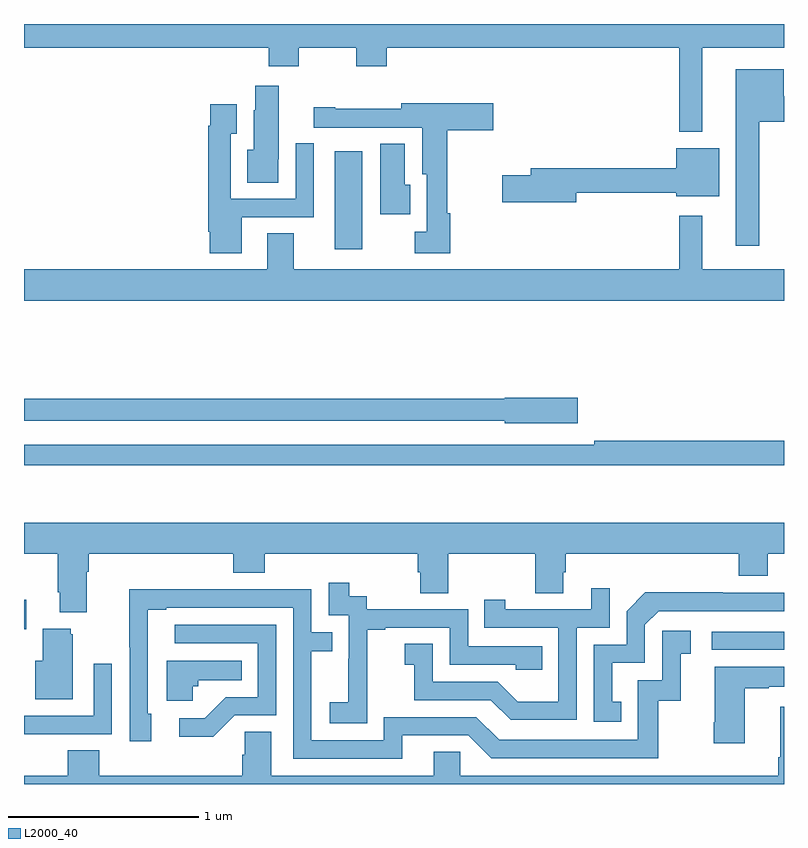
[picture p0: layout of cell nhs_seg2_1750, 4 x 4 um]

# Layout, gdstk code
import gdstk
lib = gdstk.Library(unit=1e-6, precision=1e-09)
def R(c, l, rs):  # rectangles x0, y0, x1, y1
    for r in rs: c.add(gdstk.rectangle(r[:2], r[2:], *l))
def P(c, l, *ps):  # polygons
    for p in ps: c.add(gdstk.Polygon(p, *l))
L2000_40 = (2000, 40)

nhs_seg2_1750 = lib.new_cell('nhs_seg2_1750')
R(nhs_seg2_1750, L2000_40, [(206.619,604.506,207,604.602), (203,604.615,203.011,604.771), (204.635,606.614,204.781,607.129)])
P(nhs_seg2_1750, L2000_40, [(206.569,607.676),(207,607.676),(207,607.8),(203,607.8),(203,607.676),(204.287,607.676),(204.287,607.577),(204.447,607.577),(204.447,607.676),(204.748,607.676),(204.748,607.577),(204.908,607.577),(204.908,607.676),(206.448,607.676),(206.448,607.232),(206.569,607.232)],
  [(206.869,607.286),(207,607.286),(207,607.42),(206.998,607.42),(206.998,607.561),(206.747,607.561),(206.747,606.633),(206.869,606.633)],
  [(204.337,607.089),(204.34,607.089),(204.34,607.474),(204.218,607.474),(204.218,607.347),(204.209,607.347),(204.209,607.138),(204.176,607.138),(204.176,606.964),(204.337,606.964)],
  [(205.243,606.803),(205.228,606.803),(205.228,607.241),(205.471,607.241),(205.471,607.383),(204.986,607.383),(204.986,607.353),(204.637,607.353),(204.637,607.363),(204.525,607.363),(204.525,607.254),(205.097,607.254),(205.097,607.008),(205.121,607.008),(205.121,606.706),(205.056,606.706),(205.056,606.593),(205.243,606.593)],
  [(204.145,606.783),(204.525,606.783),(204.525,607.173),(204.429,607.173),(204.429,606.879),(204.087,606.879),(204.087,607.222),(204.121,607.222),(204.121,607.378),(203.979,607.378),(203.979,607.265),(203.971,607.265),(203.971,606.706),(203.978,606.706),(203.978,606.594),(204.145,606.594)],
  [(205.033,606.954),(205.003,606.954),(205.003,607.169),(204.875,607.169),(204.875,606.798),(205.033,606.798)],
  [(205.906,606.912),(206.432,606.912),(206.432,606.893),(206.659,606.893),(206.659,607.147),(206.432,607.147),(206.432,607.04),(205.667,607.04),(205.667,607.004),(205.518,607.004),(205.518,606.862),(205.906,606.862)],
  [(207,606.508),(206.569,606.508),(206.569,606.79),(206.448,606.79),(206.448,606.508),(204.421,606.508),(204.421,606.698),(204.281,606.698),(204.281,606.508),(203,606.508),(203,606.344),(207,606.344)],
  [(205.915,605.834),(205.53,605.834),(205.53,605.828),(203,605.828),(203,605.712),(205.53,605.712),(205.53,605.699),(205.915,605.699)],
  [(207,605.606),(206.002,605.606),(206.002,605.586),(203,605.586),(203,605.478),(207,605.478)],
  [(203,605.012),(203.177,605.012),(203.177,604.81),(203.189,604.81),(203.189,604.703),(203.329,604.703),(203.329,604.916),(203.342,604.916),(203.342,605.012),(204.101,605.012),(204.101,604.913),(204.266,604.913),(204.266,605.012),(205.073,605.012),(205.073,604.914),(205.085,604.914),(205.085,604.804),(205.233,604.804),(205.233,605.012),(205.69,605.012),(205.69,604.804),(205.837,604.804),(205.837,604.914),(205.85,604.914),(205.85,605.012),(206.762,605.012),(206.762,604.895),(206.914,604.895),(206.914,605.012),(207,605.012),(207,605.176),(203,605.176)],
  [(204.807,604.327),(204.806,604.327),(204.806,604.611),(204.901,604.611),(204.901,604.623),(205.242,604.623),(205.242,604.428),(205.587,604.428),(205.587,604.401),(205.727,604.401),(205.727,604.524),(205.338,604.524),(205.338,604.719),(204.804,604.719),(204.804,604.788),(204.712,604.788),(204.712,604.858),(204.603,604.858),(204.603,604.689),(204.708,604.689),(204.708,604.46),(204.707,604.46),(204.707,604.231),(204.609,604.231),(204.609,604.121),(204.807,604.121)],
  [(205.908,604.623),(206.082,604.623),(206.082,604.831),(205.985,604.831),(205.985,604.719),(205.534,604.719),(205.534,604.771),(205.423,604.771),(205.423,604.623),(205.812,604.623),(205.812,604.234),(205.598,604.234),(205.494,604.338),(205.152,604.338),(205.152,604.537),(205.005,604.537),(205.005,604.427),(205.054,604.427),(205.054,604.242),(205.457,604.242),(205.562,604.137),(205.908,604.137)],
  [(204.991,604.056),(205.338,604.056),(205.458,603.936),(206.338,603.936),(206.338,604.239),(206.456,604.239),(206.456,604.485),(206.509,604.485),(206.509,604.606),(206.358,604.606),(206.358,604.347),(206.229,604.347),(206.229,604.032),(205.5,604.032),(205.38,604.152),(204.894,604.152),(204.894,604.029),(204.513,604.029),(204.513,604.498),(204.623,604.498),(204.623,604.599),(204.513,604.599),(204.513,604.824),(204.017,604.824),(204.017,604.826),(203.554,604.826),(203.554,604.519),(203.556,604.519),(203.556,604.026),(203.671,604.026),(203.671,604.17),(203.652,604.17),(203.652,604.716),(203.749,604.716),(203.749,604.728),(204.417,604.728),(204.417,603.933),(204.991,603.933)],
  [(206.144,604.233),(206.095,604.233),(206.095,604.437),(206.268,604.437),(206.268,604.638),(206.34,604.71),(207,604.71),(207,604.806),(206.678,604.806),(206.678,604.808),(206.27,604.808),(206.172,604.71),(206.172,604.533),(205.998,604.533),(205.998,604.128),(206.144,604.128)],
  [(204.108,604.161),(204.327,604.161),(204.327,604.638),(203.793,604.638),(203.793,604.542),(204.231,604.542),(204.231,604.257),(204.062,604.257),(203.951,604.146),(203.817,604.146),(203.817,604.049),(203.995,604.049)],
  [(203.257,604.587),(203.246,604.587),(203.246,604.618),(203.099,604.618),(203.099,604.45),(203.06,604.45),(203.06,604.247),(203.257,604.247)],
  [(203.889,604.314),(203.916,604.314),(203.916,604.346),(204.146,604.346),(204.146,604.45),(203.75,604.45),(203.75,604.238),(203.889,604.238)],
  [(203.147,604.062),(203.463,604.062),(203.463,604.432),(203.367,604.432),(203.367,604.158),(203,604.158),(203,604.061),(203.147,604.061)],
  [(206.794,604.303),(206.921,604.303),(206.921,604.313),(207,604.313),(207,604.417),(206.636,604.417),(206.636,604.126),(206.629,604.126),(206.629,604.014),(206.794,604.014)],
  [(207,604.207),(206.981,604.207),(206.981,603.94),(206.969,603.94),(206.969,603.844),(205.296,603.844),(205.296,603.971),(205.157,603.971),(205.157,603.844),(204.301,603.844),(204.301,604.076),(204.162,604.076),(204.162,603.953),(204.149,603.953),(204.149,603.844),(203.396,603.844),(203.396,603.977),(203.231,603.977),(203.231,603.844),(203,603.844),(203,603.8),(207,603.8)])

lib.write_gds('nhs_seg2_1750.gds')
